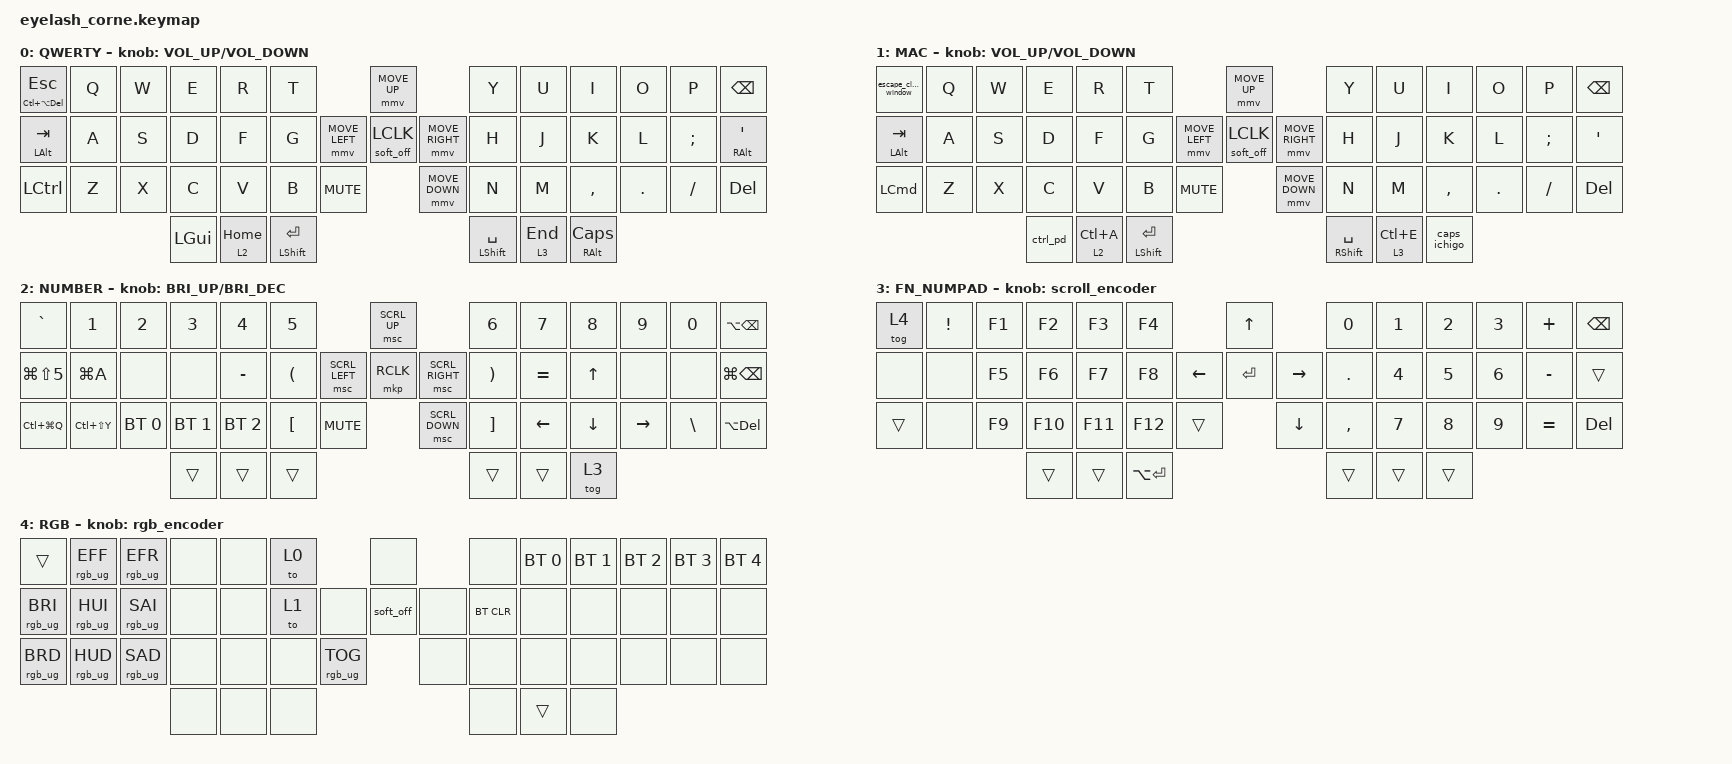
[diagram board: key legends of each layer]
#include <dt-bindings/zmk/mouse.h>
#include <input/processors.dtsi>
#include <behaviors.dtsi>
#include <dt-bindings/zmk/bt.h>
#include <dt-bindings/zmk/keys.h>
#include <dt-bindings/zmk/pointing.h>
#include <dt-bindings/zmk/rgb.h>

/*

   &mmv_input_listener {
       input-processors = <&zip_xy_scaler 2 1>;
   };

   &msc_input_listener {
       input-processors = <&zip_xy_scaler 2 1>;
   };

 */

#define ZMK_MOUSE_DEFAULT_MOVE_VAL 1200  // 600
#define ZMK_MOUSE_DEFAULT_SCRL_VAL 20    // 10

&mt { flavor = "tap-preferred"; };

&mmv { acceleration-exponent = <2>; };

/ {
    behaviors {
    };

    rgb_encoder: rgb_encoder {
        compatible = "zmk,behavior-sensor-rotate";
        #sensor-binding-cells = <0>;
        bindings = <&rgb_ug RGB_BRI>, <&rgb_ug RGB_BRD>;
    };

    scroll_encoder: scroll_encoder {
        compatible = "zmk,behavior-sensor-rotate";
        #sensor-binding-cells = <0>;
        bindings = <&msc SCRL_DOWN>, <&msc SCRL_UP>;

        tap-ms = <30>;
    };

    end_numpad: end_numpad {
        compatible = "zmk,behavior-tap-dance";
        label = "END_NUMPAD";
        #binding-cells = <0>;
        bindings = <&kp END>, <&tog 3>;
    };

    end_hld_numpad: end_hld_numpad {
        compatible = "zmk,behavior-hold-tap";
        label = "END_HLD_NUMPAD";
        bindings = <&lt>, <&kp>;

        #binding-cells = <2>;
        tapping-term-ms = <200>;
        flavor = "balanced";
    };

    escape_close_window: escape_close_window {
        compatible = "zmk,behavior-tap-dance";
        label = "ESCAPE_CLOSE_WINDOW";
        #binding-cells = <0>;
        bindings = <&kp ESCAPE>, <&kp LG(W)>;
    };

    ctrl_pd: ctrl_pd {
        compatible = "zmk,behavior-tap-dance";
        label = "CTRL_PD";
        #binding-cells = <0>;
        bindings = <&kp LEFT_CONTROL>, <&pd>;
    };

    caps_ichigo: caps_ichigo {
        compatible = "zmk,behavior-tap-dance";
        label = "CAPS_ICHIGO";
        #binding-cells = <0>;
        bindings = <&kp CAPSLOCK>, <&ichigo>;
    };

    mouse_and_off: mouse_and_off {
        compatible = "zmk,behavior-hold-tap";
        label = "MOUSE_AND_OFF";
        bindings = <&soft_off>, <&mkp>;

        #binding-cells = <2>;
        tapping-term-ms = <500>;
        flavor = "tap-preferred";
    };

    macros {
        mac_delete: mac_delete {
            compatible = "zmk,behavior-macro";
            #binding-cells = <0>;
            bindings = <&kp C_AC_NEXT_KEYBOARD_LAYOUT_SELECT &kp DELETE>;
            label = "MAC_DELETE";
        };

        pd: pd {
            compatible = "zmk,behavior-macro";
            #binding-cells = <0>;
            bindings = <&none &kp LS(D) &kp O &kp C &kp E &kp N &kp D &kp O &kp N2 &kp M &kp A &kp S>;
            label = "PD";
        };

        ichigo: ichigo {
            compatible = "zmk,behavior-macro";
            #binding-cells = <0>;
            bindings = <&none &kp LS(G) &kp E &kp T &kp S &kp U &kp G &kp A &kp N1 &kp N0 &kp S &kp H &kp O &kp W>;
            label = "ICHIGO";
        };

        mac_screenshot: mac_screenshot {
            compatible = "zmk,behavior-macro";
            #binding-cells = <0>;
            bindings = <&kp RS(LEFT_COMMAND) &kp N5>;
            label = "MAC_SCREENSHOT";
        };
    };

    keymap {
        compatible = "zmk,keymap";

        QWERTY {
            display-name = "QWERTY";
            bindings = <
&mt LC(LA(DEL)) ESCAPE  &kp Q  &kp W  &kp E     &kp R       &kp T                                               &mmv MOVE_UP                            &kp Y                 &kp U      &kp I                   &kp O    &kp P     &kp BSPC
&mt LEFT_ALT TAB        &kp A  &kp S  &kp D     &kp F       &kp G                               &mmv MOVE_LEFT  &mouse_and_off 0 LCLK  &mmv MOVE_RIGHT  &kp H                 &kp J      &kp K                   &kp L    &kp SEMI  &mt RIGHT_ALT SQT
&kp LCTRL               &kp Z  &kp X  &kp C     &kp V       &kp B                 &kp C_MUTE                    &mmv MOVE_DOWN                          &kp N                 &kp M      &kp COMMA               &kp DOT  &kp FSLH  &kp DEL
                                      &kp LGUI  &lt 2 HOME  &mt LEFT_SHIFT ENTER                                                                        &mt LEFT_SHIFT SPACE  &lt 3 END  &mt RIGHT_ALT CAPSLOCK
            >;

            sensor-bindings = <&inc_dec_kp C_VOLUME_UP C_VOLUME_DOWN>;
        };

        MAC {
            bindings = <
&escape_close_window  &kp Q  &kp W  &kp E     &kp R        &kp T                                               &mmv MOVE_UP                            &kp Y                  &kp U        &kp I         &kp O       &kp P          &kp BACKSPACE
&mt LEFT_ALT TAB      &kp A  &kp S  &kp D     &kp F        &kp G                               &mmv MOVE_LEFT  &mouse_and_off 0 LCLK  &mmv MOVE_RIGHT  &kp H                  &kp J        &kp K         &kp L       &kp SEMICOLON  &kp SQT
&kp LEFT_COMMAND      &kp Z  &kp X  &kp C     &kp V        &kp B                 &kp C_MUTE                    &mmv MOVE_DOWN                          &kp N                  &kp M        &kp COMMA     &kp PERIOD  &kp SLASH      &kp DELETE
                                    &ctrl_pd  &lt 2 LC(A)  &mt LEFT_SHIFT ENTER                                                                        &mt RIGHT_SHIFT SPACE  &lt 3 LC(E)  &caps_ichigo
            >;

            sensor-bindings = <&inc_dec_kp C_VOLUME_UP C_VOLUME_DOWN>;
            label = "MAC";
        };

        SYMBOL {
            display-name = "NUMBER";
            bindings = <
&kp GRAVE       &kp N1         &kp N2        &kp N3        &kp N4        &kp N5                                              &msc SCRL_UP                     &kp N6                 &kp N7     &kp N8          &kp N9     &kp N0         &kp LA(BSPC)
&kp LG(LS(N5))  &kp LG(A)      &none         &none         &kp MINUS     &kp LEFT_PARENTHESIS                &msc SCRL_LEFT  &mkp RCLK       &msc SCRL_RIGHT  &kp RIGHT_PARENTHESIS  &kp EQUAL  &kp UP          &none      &none          &kp LG(BACKSPACE)
&kp LC(LG(Q))   &kp LC(LS(Y))  &bt BT_SEL 0  &bt BT_SEL 1  &bt BT_SEL 2  &kp LEFT_BRACKET      &kp C_MUTE                    &msc SCRL_DOWN                   &kp RIGHT_BRACKET      &kp LEFT   &kp DOWN_ARROW  &kp RIGHT  &kp BACKSLASH  &kp LA(DEL)
                                             &trans        &trans        &trans                                                                               &trans                 &trans     &tog 3
            >;

            sensor-bindings = <&inc_dec_kp C_BRI_UP C_BRI_DEC>;
            label = "SYMBOL";
        };

        NUMPAD {
            display-name = "FN_NUMPAD";
            bindings = <
&tog 4  &kp EXCL  &kp F1  &kp F2   &kp F3   &kp F4                             &kp UP_ARROW             &kp NUMBER_0  &kp NUMBER_1  &kp NUMBER_2  &kp NUMBER_3  &kp PLUS   &kp BSPC
&none   &none     &kp F5  &kp F6   &kp F7   &kp F8                   &kp LEFT  &kp ENTER     &kp RIGHT  &kp PERIOD    &kp NUMBER_4  &kp N5        &kp NUMBER_6  &kp MINUS  &trans
&trans  &none     &kp F9  &kp F10  &kp F11  &kp F12        &trans              &kp DOWN                 &kp COMMA     &kp N7        &kp N8        &kp N9        &kp EQUAL  &kp DELETE
                          &trans   &trans   &kp LA(ENTER)                                               &trans        &trans        &trans
            >;

            sensor-bindings = <&scroll_encoder>;
            label = "NUMPAD";
        };

        RGB {
            bindings = <
&trans           &rgb_ug RGB_EFF  &rgb_ug RGB_EFR  &none  &none  &to 0                            &none             &none       &bt BT_SEL 0  &bt BT_SEL 1  &bt BT_SEL 2  &bt BT_SEL 3  &bt BT_SEL 4
&rgb_ug RGB_BRI  &rgb_ug RGB_HUI  &rgb_ug RGB_SAI  &none  &none  &to 1                     &none  &soft_off  &none  &bt BT_CLR  &none         &none         &none         &none         &none
&rgb_ug RGB_BRD  &rgb_ug RGB_HUD  &rgb_ug RGB_SAD  &none  &none  &none  &rgb_ug RGB_TOG           &none             &none       &none         &none         &none         &none         &none
                                                   &none  &none  &none                                              &none       &trans        &none
            >;

            sensor-bindings = <&rgb_encoder>;
            label = "RGB";
        };
    };
};
